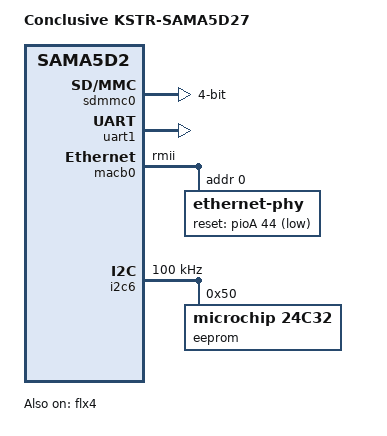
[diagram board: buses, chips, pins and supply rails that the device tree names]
// SPDX-License-Identifier: GPL-2.0+ OR X11
/*
 * at91-kstr-sama5d27.dts - Device Tree file for Conclusive KSTR-SAMA5D27 board
 *
 *  Copyright (C) 2019-2023 Conclusive Engineering Sp. z o. o.
 *
 */
/dts-v1/;

#include "sama5d2.dtsi"
#include "sama5d2-pinfunc.h"
#include <dt-bindings/gpio/gpio.h>
#include <dt-bindings/interrupt-controller/irq.h>
#include <dt-bindings/mfd/atmel-flexcom.h>

/ {
	model = "Conclusive KSTR-SAMA5D27";
	compatible = "conclusive,kstr-sama5d27", "atmel,sama5d2", "atmel,sama5";

	chosen {
		stdout-path = &uart1;
	};

	aliases {
		i2c2 = &i2c6;
	};
};

&main_xtal {
	clock-frequency = <12000000>;
};

&sdmmc0 {
	bus-width = <4>;
	pinctrl-names = "default";
	pinctrl-0 = <&pinctrl_sdmmc0_cmd_dat_default &pinctrl_sdmmc0_ck_cd_default>;
	status = "okay";
};

&uart1 {
	pinctrl-names = "default";
	pinctrl-0 = <&pinctrl_uart1_default>;
	status = "okay";
};

&macb0 {
	pinctrl-names = "default";
	pinctrl-0 = <&pinctrl_macb0_rmii &pinctrl_macb0_phy_irq>;
	phy-mode = "rmii";
	status = "okay";

	ethernet-phy@0 {
		reg = <0x0>;
		reset-gpios = <&pioA 44 GPIO_ACTIVE_LOW>;
	};
};

&flx4 {
	atmel,flexcom-mode = <ATMEL_FLEXCOM_MODE_TWI>;
	status = "okay";
};

&i2c6 {
	clock-frequency = <100000>;
	pinctrl-names = "default";
	pinctrl-0 = <&pinctrl_flx4_i2c>;
	status = "okay";

	eeprom: eeprom@50 {
		compatible = "microchip,24c32", "atmel,24c32";
		reg = <0x50>;
		read-only;
		pagesize = <32>;
		status = "okay";
	};
};

&pioA {
	pinctrl {
		pinctrl_uart1_default: uart1_default {
			pinmux = <PIN_PD2__URXD1>,
				 <PIN_PD3__UTXD1>;
			bias-disable;
		};

		pinctrl_macb0_phy_irq: macb0_phy_irq {
			pinmux = <PIN_PB13__GPIO>;
			bias-disable;
		};

		pinctrl_macb0_rmii: macb0_rmii {
			pinmux = <PIN_PB14__GTXCK>,
				 <PIN_PB15__GTXEN>,
				 <PIN_PB16__GRXDV>,
				 <PIN_PB17__GRXER>,
				 <PIN_PB18__GRX0>,
				 <PIN_PB19__GRX1>,
				 <PIN_PB20__GTX0>,
				 <PIN_PB21__GTX1>,
				 <PIN_PB22__GMDC>,
				 <PIN_PB23__GMDIO>;
			bias-disable;
		};

		pinctrl_sdmmc0_cmd_dat_default: sdmmc0_cmd_dat_default {
			pinmux = <PIN_PA1__SDMMC0_CMD>,
				 <PIN_PA2__SDMMC0_DAT0>,
				 <PIN_PA3__SDMMC0_DAT1>,
				 <PIN_PA4__SDMMC0_DAT2>,
				 <PIN_PA5__SDMMC0_DAT3>;
			bias-pull-up;
		};

		pinctrl_sdmmc0_ck_cd_default: sdmmc0_ck_cd_default {
			pinmux = <PIN_PA0__SDMMC0_CK>,
				 <PIN_PA11__SDMMC0_VDDSEL>,
				 <PIN_PA13__SDMMC0_CD>;
			bias-disable;
		};

		pinctrl_flx4_i2c: flx4_i2c {
			pinmux = <PIN_PC28__FLEXCOM4_IO0>,
				 <PIN_PC29__FLEXCOM4_IO1>;
			bias-disable;
		};
	};
};
